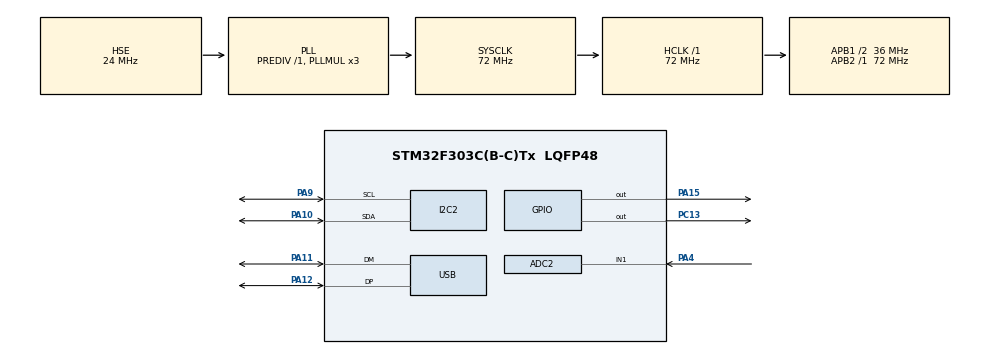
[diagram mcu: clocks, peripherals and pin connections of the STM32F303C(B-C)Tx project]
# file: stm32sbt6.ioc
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Mcu.Family=STM32F3
ADC2.ClockPrescaler=ADC_CLOCK_ASYNC_DIV1
NVIC.ADC1_2_IRQn=true\:0\:0\:false\:false\:true\:true\:true
ADC2.ExternalTrigConv=ADC_EXTERNALTRIGCONV_T3_TRGO
USB_DEVICE.CLASS_NAME_FS=CDC
RCC.CortexFreq_Value=72000000
PA10.Mode=I2C
USB_DEVICE.VirtualModeFS=Cdc_FS
PC13.Signal=GPIO_Output
NVIC.USB_LP_CAN_RX0_IRQn=true\:0\:0\:false\:false\:true\:false\:true
RCC.SYSCLKSourceVirtual=RCC_SYSCLKSOURCE_PLLCLK
PA11.Mode=Device
RCC.APB1CLKDivider=RCC_HCLK_DIV2
ADC2.SamplingTime-5\#ChannelRegularConversion=ADC_SAMPLETIME_601CYCLES_5
ProjectManager.StackSize=0x400
PA13.Signal=SYS_JTMS-SWDIO
PA9.Mode=I2C
PA12.Signal=USB_DP
PA4.Mode=IN1-Single-Ended
ProjectManager.TargetToolchain=STM32CubeIDE
PC13.GPIO_ModeDefaultOutputPP=GPIO_MODE_OUTPUT_PP
ADC2.OffsetNumber-5\#ChannelRegularConversion=ADC_OFFSET_NONE
RCC.HCLKFreq_Value=72000000
VP_USB_DEVICE_VS_USB_DEVICE_CDC_FS.Mode=CDC_FS
RCC.APB2TimFreq_Value=72000000
PA9.Signal=I2C2_SCL
NVIC.I2C2_ER_IRQn=true\:0\:0\:false\:false\:true\:true\:true
RCC.USBFreq_Value=48000000
RCC.LSE_VALUE=32768
RCC.AHBFreq_Value=72000000
PF0-OSC_IN.Mode=HSE-External-Oscillator
RCC.HSE_VALUE=24000000
PB3.Mode=Trace_Asynchronous_SW
board=custom
RCC.PLLMUL=RCC_PLL_MUL3
PA15.PinState=GPIO_PIN_RESET
RCC.APB2Freq_Value=72000000
ADC2.Rank-5\#ChannelRegularConversion=1
RCC.PRESCALERUSB=RCC_USBCLKSOURCE_PLL_DIV1_5
PA14.Mode=Trace_Asynchronous_SW
PC13.GPIO_PuPd=GPIO_NOPULL
PA13.Mode=Trace_Asynchronous_SW
Mcu.Name=STM32F303C(B-C)Tx
ADC2.SamplingTimeOPAMP-5\#ChannelRegularConversion=ADC_SAMPLETIME_61CYCLES_5
PB3.Signal=SYS_JTDO-TRACESWO
PA4.Signal=ADC2_IN1
RCC.SYSCLKFreq_VALUE=72000000
Mcu.Package=LQFP48
PA12.Mode=Device
ADC2.NbrOfConversionFlag=1
PA11.Signal=USB_DM
PA10.Signal=I2C2_SDA
PA14.Signal=SYS_JTCK-SWCLK
PA15.Signal=GPIO_Output
ProjectManager.HeapSize=0x200
NVIC.I2C2_EV_IRQn=true\:0\:0\:false\:false\:true\:true\:true
RCC.HSI_VALUE=8000000
NVIC.PriorityGroup=NVIC_PRIORITYGROUP_4
ADC2.NbrOfConversion=1
RCC.APB1TimFreq_Value=72000000
ADC2.Offset-5\#ChannelRegularConversion=0
PF0-OSC_IN.Signal=RCC_OSC_IN
TIM3.TIM_MasterOutputTrigger=TIM_TRGO_UPDATE
ADC2.Channel-5\#ChannelRegularConversion=ADC_CHANNEL_1
PF1-OSC_OUT.Mode=HSE-External-Oscillator
RCC.APB1Freq_Value=36000000
USB_DEVICE.VirtualMode=Cdc
VP_TIM3_VS_ClockSourceINT.Mode=Internal
PF1-OSC_OUT.Signal=RCC_OSC_OUT

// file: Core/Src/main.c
/* USER CODE BEGIN Header */
/**
 ******************************************************************************
 * @file           : main.c
 * @brief          : Main program body
 ******************************************************************************
 * @attention
 *
 * <h2><center>&copy; Copyright (c) 2021 STMicroelectronics.
 * All rights reserved.</center></h2>
 *
 * This software component is licensed by ST under BSD 3-Clause license,
 * the "License"; You may not use this file except in compliance with the
 * License. You may obtain a copy of the License at:
 *                        opensource.org/licenses/BSD-3-Clause
 *
 ******************************************************************************
 */
/* USER CODE END Header */
#include "main.h"
#include "usb_device.h"

/* USER CODE BEGIN Includes */
#include "usbd_cdc_if.h"
#include "usb_device.h"
/* USER CODE END Includes */

ADC_HandleTypeDef hadc2;

I2C_HandleTypeDef hi2c2;

TIM_HandleTypeDef htim3;

/* USER CODE BEGIN PV */
ControlTypeDef control = DEFAULT_CONFIG;

uint8_t rx[RX_LENGTH];
uint8_t cmd[RX_LENGTH];
uint8_t tx[RX_LENGTH];
uint8_t state = INIT;
uint8_t rx_counter = 0;

int _write(int file, uint8_t *ptr, int len) {
	for (int DataIdx = 0; DataIdx < len; DataIdx++) {
		ITM_SendChar(*ptr++);
	}
	return len;
}
/* USER CODE END PV */

void SystemClock_Config(void);
static void MX_GPIO_Init(void);
static void MX_ADC2_Init(void);
static void MX_TIM3_Init(void);
static void MX_I2C2_Init(void);
/* USER CODE BEGIN PFP */
void HAL_ADC_ConvCpltCallback(ADC_HandleTypeDef* hadc);

void fsm();
/* USER CODE END PFP */

int main(void)
{

  /* MCU Configuration--------------------------------------------------------*/

  /* Reset of all peripherals, Initializes the Flash interface and the Systick. */
  HAL_Init();

  /* Configure the system clock */
  SystemClock_Config();

  /* Initialize all configured peripherals */
  MX_GPIO_Init();
  MX_USB_DEVICE_Init();
  MX_ADC2_Init();
  MX_TIM3_Init();
  MX_I2C2_Init();

  /* Infinite loop */
  /* USER CODE BEGIN WHILE */
	while (1) {
		fsm();
    /* USER CODE END WHILE */

	}
}

void SystemClock_Config(void)
{
  RCC_OscInitTypeDef RCC_OscInitStruct = {0};
  RCC_ClkInitTypeDef RCC_ClkInitStruct = {0};
  RCC_PeriphCLKInitTypeDef PeriphClkInit = {0};

  /** Initializes the RCC Oscillators according to the specified parameters
  * in the RCC_OscInitTypeDef structure.
  */
  RCC_OscInitStruct.OscillatorType = RCC_OSCILLATORTYPE_HSI|RCC_OSCILLATORTYPE_HSE;
  RCC_OscInitStruct.HSEState = RCC_HSE_ON;
  RCC_OscInitStruct.HSEPredivValue = RCC_HSE_PREDIV_DIV1;
  RCC_OscInitStruct.HSIState = RCC_HSI_ON;
  RCC_OscInitStruct.HSICalibrationValue = RCC_HSICALIBRATION_DEFAULT;
  RCC_OscInitStruct.PLL.PLLState = RCC_PLL_ON;
  RCC_OscInitStruct.PLL.PLLSource = RCC_PLLSOURCE_HSE;
  RCC_OscInitStruct.PLL.PLLMUL = RCC_PLL_MUL3;
  if (HAL_RCC_OscConfig(&RCC_OscInitStruct) != HAL_OK)
  {
    Error_Handler();
  }
  /** Initializes the CPU, AHB and APB buses clocks
  */
  RCC_ClkInitStruct.ClockType = RCC_CLOCKTYPE_HCLK|RCC_CLOCKTYPE_SYSCLK
                              |RCC_CLOCKTYPE_PCLK1|RCC_CLOCKTYPE_PCLK2;
  RCC_ClkInitStruct.SYSCLKSource = RCC_SYSCLKSOURCE_PLLCLK;
  RCC_ClkInitStruct.AHBCLKDivider = RCC_SYSCLK_DIV1;
  RCC_ClkInitStruct.APB1CLKDivider = RCC_HCLK_DIV2;
  RCC_ClkInitStruct.APB2CLKDivider = RCC_HCLK_DIV1;

  if (HAL_RCC_ClockConfig(&RCC_ClkInitStruct, FLASH_LATENCY_2) != HAL_OK)
  {
    Error_Handler();
  }
  PeriphClkInit.PeriphClockSelection = RCC_PERIPHCLK_USB|RCC_PERIPHCLK_I2C2
                              |RCC_PERIPHCLK_ADC12;
  PeriphClkInit.Adc12ClockSelection = RCC_ADC12PLLCLK_DIV1;
  PeriphClkInit.I2c2ClockSelection = RCC_I2C2CLKSOURCE_HSI;
  PeriphClkInit.USBClockSelection = RCC_USBCLKSOURCE_PLL_DIV1_5;
  if (HAL_RCCEx_PeriphCLKConfig(&PeriphClkInit) != HAL_OK)
  {
    Error_Handler();
  }
}

static void MX_ADC2_Init(void)
{

  ADC_ChannelConfTypeDef sConfig = {0};

  /** Common config
  */
  hadc2.Instance = ADC2;
  hadc2.Init.ClockPrescaler = ADC_CLOCK_ASYNC_DIV1;
  hadc2.Init.Resolution = ADC_RESOLUTION_12B;
  hadc2.Init.ScanConvMode = ADC_SCAN_DISABLE;
  hadc2.Init.ContinuousConvMode = DISABLE;
  hadc2.Init.DiscontinuousConvMode = DISABLE;
  hadc2.Init.ExternalTrigConvEdge = ADC_EXTERNALTRIGCONVEDGE_RISING;
  hadc2.Init.ExternalTrigConv = ADC_EXTERNALTRIGCONV_T3_TRGO;
  hadc2.Init.DataAlign = ADC_DATAALIGN_RIGHT;
  hadc2.Init.NbrOfConversion = 1;
  hadc2.Init.DMAContinuousRequests = DISABLE;
  hadc2.Init.EOCSelection = ADC_EOC_SINGLE_CONV;
  hadc2.Init.LowPowerAutoWait = DISABLE;
  hadc2.Init.Overrun = ADC_OVR_DATA_OVERWRITTEN;
  if (HAL_ADC_Init(&hadc2) != HAL_OK)
  {
    Error_Handler();
  }
  /** Configure Regular Channel
  */
  sConfig.Channel = ADC_CHANNEL_1;
  sConfig.Rank = ADC_REGULAR_RANK_1;
  sConfig.SingleDiff = ADC_SINGLE_ENDED;
  sConfig.SamplingTime = ADC_SAMPLETIME_601CYCLES_5;
  sConfig.OffsetNumber = ADC_OFFSET_NONE;
  sConfig.Offset = 0;
  if (HAL_ADC_ConfigChannel(&hadc2, &sConfig) != HAL_OK)
  {
    Error_Handler();
  }

}

static void MX_I2C2_Init(void)
{

  hi2c2.Instance = I2C2;
  hi2c2.Init.Timing = 0x2000090E;
  hi2c2.Init.OwnAddress1 = 0;
  hi2c2.Init.AddressingMode = I2C_ADDRESSINGMODE_7BIT;
  hi2c2.Init.DualAddressMode = I2C_DUALADDRESS_DISABLE;
  hi2c2.Init.OwnAddress2 = 0;
  hi2c2.Init.OwnAddress2Masks = I2C_OA2_NOMASK;
  hi2c2.Init.GeneralCallMode = I2C_GENERALCALL_DISABLE;
  hi2c2.Init.NoStretchMode = I2C_NOSTRETCH_DISABLE;
  if (HAL_I2C_Init(&hi2c2) != HAL_OK)
  {
    Error_Handler();
  }
  /** Configure Analogue filter
  */
  if (HAL_I2CEx_ConfigAnalogFilter(&hi2c2, I2C_ANALOGFILTER_ENABLE) != HAL_OK)
  {
    Error_Handler();
  }
  /** Configure Digital filter
  */
  if (HAL_I2CEx_ConfigDigitalFilter(&hi2c2, 0) != HAL_OK)
  {
    Error_Handler();
  }

}

static void MX_TIM3_Init(void)
{

  TIM_ClockConfigTypeDef sClockSourceConfig = {0};
  TIM_MasterConfigTypeDef sMasterConfig = {0};

  htim3.Instance = TIM3;
  htim3.Init.Prescaler = 720;
  htim3.Init.CounterMode = TIM_COUNTERMODE_UP;
  htim3.Init.Period = 65535;
  htim3.Init.ClockDivision = TIM_CLOCKDIVISION_DIV1;
  htim3.Init.AutoReloadPreload = TIM_AUTORELOAD_PRELOAD_DISABLE;
  if (HAL_TIM_Base_Init(&htim3) != HAL_OK)
  {
    Error_Handler();
  }
  sClockSourceConfig.ClockSource = TIM_CLOCKSOURCE_INTERNAL;
  if (HAL_TIM_ConfigClockSource(&htim3, &sClockSourceConfig) != HAL_OK)
  {
    Error_Handler();
  }
  sMasterConfig.MasterOutputTrigger = TIM_TRGO_UPDATE;
  sMasterConfig.MasterSlaveMode = TIM_MASTERSLAVEMODE_DISABLE;
  if (HAL_TIMEx_MasterConfigSynchronization(&htim3, &sMasterConfig) != HAL_OK)
  {
    Error_Handler();
  }

}

static void MX_GPIO_Init(void)
{
  GPIO_InitTypeDef GPIO_InitStruct = {0};

  /* GPIO Ports Clock Enable */
  __HAL_RCC_GPIOC_CLK_ENABLE();
  __HAL_RCC_GPIOF_CLK_ENABLE();
  __HAL_RCC_GPIOA_CLK_ENABLE();
  __HAL_RCC_GPIOB_CLK_ENABLE();

  /*Configure GPIO pin Output Level */
  HAL_GPIO_WritePin(GPIOC, GPIO_PIN_13, GPIO_PIN_RESET);

  /*Configure GPIO pin Output Level */
  HAL_GPIO_WritePin(GPIOA, GPIO_PIN_15, GPIO_PIN_RESET);

  /*Configure GPIO pin : PC13 */
  GPIO_InitStruct.Pin = GPIO_PIN_13;
  GPIO_InitStruct.Mode = GPIO_MODE_OUTPUT_PP;
  GPIO_InitStruct.Pull = GPIO_NOPULL;
  GPIO_InitStruct.Speed = GPIO_SPEED_FREQ_LOW;
  HAL_GPIO_Init(GPIOC, &GPIO_InitStruct);

  /*Configure GPIO pin : PA15 */
  GPIO_InitStruct.Pin = GPIO_PIN_15;
  GPIO_InitStruct.Mode = GPIO_MODE_OUTPUT_PP;
  GPIO_InitStruct.Pull = GPIO_NOPULL;
  GPIO_InitStruct.Speed = GPIO_SPEED_FREQ_LOW;
  HAL_GPIO_Init(GPIOA, &GPIO_InitStruct);

}

/* USER CODE BEGIN 4 */
void fsm() {
	tstatus terminal;
	switch (state) {
	case INIT:
		init_bios();
		read_config(&control);
		init_hw();
		blink(INIT);
		state = INIT_GPIO;
		break;
	case INIT_GPIO:
		blink(INIT_GPIO);
		state = ENABLE_3V3;
		break;
	case ENABLE_3V3:
		blink(ENABLE_3V3);
		state = ENABLE_VCORE_GTH;
		break;
	case ENABLE_VCORE_GTH:
		blink(ENABLE_VCORE_GTH);
		state = ENABLE_1V8;
		break;
	case ENABLE_1V8:
		blink(ENABLE_1V8);
		state = ENABLE_BR;
		break;
	case ENABLE_BR:
		blink(ENABLE_BR);
		state = INIT_SI5341;
		break;
	case INIT_SI5341:
		blink(INIT_SI5341);
		state = TPS_CFG;
		break;
	case TPS_CFG:
		blink(INIT_SI5341);
		state = INIT_USB;
		break;
	case INIT_USB:
		blink(INIT_USB);
		USB_init();
		state = IDLE;
		break;
	case IDLE:
		blink(IDLE);
		if (strlen(rx) != 0) {
			state = CMD;
		}
		break;
	case CMD:
		if (strchr(rx, BS) != NULL) {
			state = CMD_BS;
		} else {
			rx_counter += strlen(rx);
			if (rx_counter <= RX_LENGTH) {
				if (strchr(rx, CR) != NULL) {
					state = CMD_PARSE;
				} else {
					state = IDLE;
				}
				strcat(cmd, rx);
			} else {
				state = CMD_ERASE;
			}
		}
		memset(rx, 0, strlen(rx));
		break;
	case CMD_PARSE:
		terminal = command_parse(cmd);
		state = terminal.state;
		break;
	case CMD_ERASE:
		rx_counter = 0;
		memset(cmd, 0, strlen(cmd));
		state = IDLE;
		break;
	case CMD_BS:
		if (rx_counter > 0)
			rx_counter--;
		cmd[rx_counter] = '\0';
		state = IDLE;
		break;
	case FEEDBACK_CDC:
		CDC_Transmit_FS((uint8_t*) terminal.result, strlen(terminal.result));
		state = CMD_ERASE;
		break;
	case FEEDBACK_DISABLED:
		state = CMD_ERASE;
		break;
	default:
		state = INIT;
		break;
	}
}
/* USER CODE END 4 */

void Error_Handler(void)
{
	__disable_irq();
	while (1) {
	}
}

/************************ (C) COPYRIGHT STMicroelectronics *****END OF FILE****/
